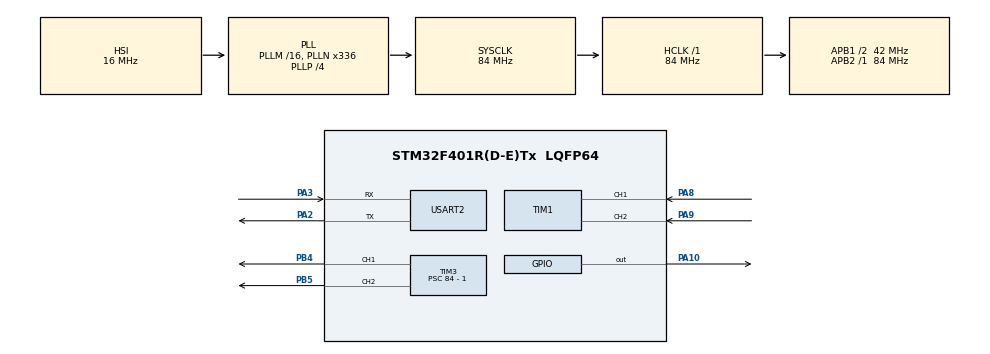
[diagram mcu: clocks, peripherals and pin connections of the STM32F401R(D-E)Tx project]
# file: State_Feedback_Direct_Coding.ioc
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Mcu.Family=STM32F4
Mcu.Name=STM32F401R(D-E)Tx
Mcu.Package=LQFP64
NVIC.PriorityGroup=NVIC_PRIORITYGROUP_4
NVIC.TIM4_IRQn=true\:0\:0\:false\:false\:true\:true\:true\:true
PA10.Signal=GPIO_Output
PA2.Mode=Asynchronous
PA2.Signal=USART2_TX
PA3.Mode=Asynchronous
PA3.Signal=USART2_RX
PA8.Signal=S_TIM1_CH1
PA9.Signal=S_TIM1_CH2
PB4.Signal=S_TIM3_CH1
PB5.Signal=S_TIM3_CH2
ProjectManager.HeapSize=0x200
ProjectManager.StackSize=0x400
ProjectManager.TargetToolchain=STM32CubeIDE
RCC.48MHZClocksFreq_Value=84000000
RCC.AHBFreq_Value=84000000
RCC.APB1CLKDivider=RCC_HCLK_DIV2
RCC.APB1Freq_Value=42000000
RCC.APB1TimFreq_Value=84000000
RCC.APB2Freq_Value=84000000
RCC.APB2TimFreq_Value=84000000
RCC.CortexFreq_Value=84000000
RCC.HCLKFreq_Value=84000000
RCC.HSE_VALUE=25000000
RCC.HSI_VALUE=16000000
RCC.LSE_VALUE=32768
RCC.PLLN=336
RCC.PLLP=RCC_PLLP_DIV4
RCC.SYSCLKFreq_VALUE=84000000
RCC.SYSCLKSource=RCC_SYSCLKSOURCE_PLLCLK
RCC.VCOOutputFreq_Value=336000000
SH.S_TIM1_CH1.0=TIM1_CH1,Encoder_Interface
SH.S_TIM1_CH2.0=TIM1_CH2,Encoder_Interface
SH.S_TIM3_CH1.0=TIM3_CH1,PWM Generation1 CH1
SH.S_TIM3_CH2.0=TIM3_CH2,PWM Generation2 CH2
TIM1.EncoderMode=TIM_ENCODERMODE_TI12
TIM3.AutoReloadPreload=TIM_AUTORELOAD_PRELOAD_ENABLE
TIM3.Channel-PWM\ Generation1\ CH1=TIM_CHANNEL_1
TIM3.Channel-PWM\ Generation2\ CH2=TIM_CHANNEL_2
TIM3.Period=500 - 1
TIM3.Prescaler=84 - 1
TIM4.Period=5000 - 1
TIM4.Prescaler=84 - 1
USART2.VirtualMode=VM_ASYNC
VP_TIM3_VS_ClockSourceINT.Mode=Internal
VP_TIM4_VS_ClockSourceINT.Mode=Internal
board=custom

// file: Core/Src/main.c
/* USER CODE BEGIN Header */
/**
 ******************************************************************************
 * @file           : main.c
 * @brief          : Main program body
 ******************************************************************************
 * @attention
 *
 * <h2><center>&copy; Copyright (c) 2021 STMicroelectronics.
 * All rights reserved.</center></h2>
 *
 * This software component is licensed by ST under BSD 3-Clause license,
 * the "License"; You may not use this file except in compliance with the
 * License. You may obtain a copy of the License at:
 *                        opensource.org/licenses/BSD-3-Clause
 *
 ******************************************************************************
 */
/* USER CODE END Header */
#include "main.h"

/* USER CODE BEGIN Includes */
#include "stdio.h"
#include "stdlib.h"
#include "stdbool.h"
#include "math.h"
#include "string.h"
#include  <errno.h>
#include  <sys/unistd.h> // STDOUT_FILENO, STDERR_FILENO
/* USER CODE END Includes */

/* USER CODE BEGIN PD */
#define WAITING 2 // the number of seconds to wait from one reference change to the next. It also coincides with the number of seconds between one USART send and the next
#define REF_DIM 8
/* USER CODE END PD */

TIM_HandleTypeDef htim1;
TIM_HandleTypeDef htim3;
TIM_HandleTypeDef htim4;

UART_HandleTypeDef huart2;

void SystemClock_Config(void);
static void MX_GPIO_Init(void);
static void MX_USART2_UART_Init(void);
static void MX_TIM3_Init(void);
static void MX_TIM1_Init(void);
static void MX_TIM4_Init(void);

/* USER CODE BEGIN 0 */
/* BEGIN CIRCULAR DATA BUFFER */
typedef struct circular_buffer {
	void *buffer;     // data buffer
	void *buffer_end; // end of data buffer
	size_t capacity;  // maximum number of items in the buffer
	size_t count;     // number of items in the buffer
	size_t sz;        // size of each item in the buffer
	void *head;       // pointer to head
	void *tail;       // pointer to tail
	bool writing;  // signals if the buffer is being written
} circular_buffer;

void circularBufferInit(circular_buffer *cb, size_t capacity, size_t sz) {
	cb->buffer = calloc(capacity, sz);
	if (cb->buffer == NULL)
		printf("ALLOCATED NULL\n\r");
	// handle error
	cb->buffer_end = (char*) cb->buffer + capacity * sz;
	cb->capacity = capacity;
	cb->count = 0;
	cb->sz = sz;
	cb->head = cb->buffer;
	cb->tail = cb->buffer;
	cb->writing = false;

}

void circularBufferFree(circular_buffer *cb) {
	free(cb->buffer);
	// clear out other fields too, just to be safe
}

void circularBufferPushBack(circular_buffer *cb, const void *item) {
	if (cb->count == cb->capacity) {
		printf("ERROR PUSH BACK \n\r");
		// handle error
	}
	cb->writing = true;
	memmove(cb->head, item, cb->sz);
	cb->head = (char*) cb->head + cb->sz;
	if (cb->head == cb->buffer_end)
		cb->head = cb->buffer;
	cb->count++;
	cb->writing = false;
}

void circularBufferPopFront(circular_buffer *cb, void *item) {
	if (cb->count == 0) {
		printf("ERROR PUSH BACK \n\r");
		// handle error
	}
	memmove(item, cb->tail, cb->sz);
	cb->tail = (char*) cb->tail + cb->sz;
	if (cb->tail == cb->buffer_end)
		cb->tail = cb->buffer;
	while ((cb->writing))
		;
	cb->count--;
}

circular_buffer buffer;

/* BEGIN RECORD TYPEDEF*/
typedef struct record {
	double current_u; // value of the current controller output
	double current_y; // value of the current motor output (speed)
	double current_r;
	uint32_t cycle_core_duration; // time needed to read, compute and actuate
	uint32_t cycle_begin_delay; // difference between the actual and the expected absolute start time of the cycle
	uint32_t current_timestamp; // current timestamp in millis
} record;

/* BEGIN USART WRITE FUNCTION (used by printf)*/
int _write(int file, char *data, int len) {
	if ((file != STDOUT_FILENO) && (file != STDERR_FILENO)) {
		errno = EBADF;
		return -1;
	}

	// arbitrary timeout 1000
	HAL_StatusTypeDef status = HAL_UART_Transmit(&huart2, (uint8_t*) data, len, 1000);

	// return # of bytes written - as best we can tell
	return (status == HAL_OK ? len : 0);
}

void setPulseFromDutyValue(double dutyVal) {
	HAL_GPIO_WritePin(GPIOA, GPIO_PIN_10, GPIO_PIN_SET); // enable the motor driver

	uint16_t channelToModulate;
	uint16_t channelToStop;

	if (dutyVal > 0) {
		channelToModulate = TIM_CHANNEL_1;
		channelToStop = TIM_CHANNEL_2;
	} else {
		channelToModulate = TIM_CHANNEL_2;
		channelToStop = TIM_CHANNEL_1;
	}

	__HAL_TIM_SET_COMPARE(&htim3, channelToStop, 0);
	__HAL_TIM_SET_COMPARE(&htim3, channelToModulate,
			(abs(dutyVal) * ((double )htim3.Init.Period)) / 100); //cast integer value to double to correctly perform division between decimal numbers
}

double getSpeedByDelta(double ticksDelta, double Ts) {
	return ticksDelta * 60 / (3591.84 * Ts);
}

double getTicksDelta(double current_ticks, double last_ticks, double Ts) {
	double delta;

	if (abs(current_ticks - last_ticks) <= ceil(8400 * Ts))
		delta = current_ticks - last_ticks;
	else {
		if (last_ticks > current_ticks)
			delta = current_ticks + pow(2, 16) - 1 - last_ticks;
		else
			delta = current_ticks - pow(2, 16) + 1 - last_ticks;
	}
	return delta;
}

double last_ticks = 0;
double current_ticks = 0;
uint32_t tic_control_step;
uint32_t toc_control_step;
uint32_t control_computation_duration;

uint32_t controller_k = -1;
int sampling_prescaler = 2;
int sampling_prescaler_counter = 0;

double Ts = 0.005;

double reference_array[REF_DIM] = { 60.0, 80.0, 100.0, 150.0, -60.0, -80.0, -100.0, 0};
double reference;

double u = 0;

double **Ad;
double **Bd;
double **Cd;
double **state_kp1;
double **state_k;
double **y_k_expected;
double **L;
double **u_matrix;
double **sum_center;
double **sub_y;
double **sum_top;
double **sum_bottom;

int Ad_rows = 2;
int Ad_columns = 2;
int Bd_rows = 2;
int Bd_columns = 1;
int Cd_rows = 1;
int Cd_columns = 2;
int L_rows = 2;
int L_columns = 1;
int state_rows = 2;
int state_columns = 1;
int y_k_expected_rows = 1;
int y_k_expected_columns = 1;
int u_rows = 1;
int u_columns = 1;

double kp_1 = 0.0770;
double kp_2 = -0.0645;
double ki = 0.0042;
double z = 0;
double z_last = 0;
double error_last = 0;

double** createMatrix(int n, int m) {
	double *values = (double*) calloc(m * n, sizeof(double));
	double **rows = (double**) malloc(n * sizeof(double*));
	for (int i = 0; i < n; ++i) {
		rows[i] = values + i * m;
	}
	return rows;
}

void initMatricies() {

	Ad = createMatrix(Ad_rows, Ad_columns);
	Ad[0][0] = 0.8645;
	Ad[0][1] = -0.0565;
	Ad[1][0] = 1.0;
	Ad[1][1] = 0.0;

	Bd = createMatrix(Bd_rows, Bd_columns);
	Bd[0][0] = 1.0;
	Bd[1][0] = 0.0;

	Cd = createMatrix(Cd_rows, Cd_columns);
	Cd[0][0] = 1.4424;
	Cd[0][1] = 0.4751;

	L = createMatrix(L_rows, L_columns);
	L[0][0] = 0.3789;
	L[1][0] = 0.4549;

	state_kp1 = createMatrix(state_rows, state_columns);
	state_k = createMatrix(state_rows, state_columns);
	y_k_expected = createMatrix(y_k_expected_rows, y_k_expected_columns);

	u_matrix = createMatrix(u_rows, u_columns);
	sum_center = createMatrix(Bd_rows, u_columns);
	sub_y = createMatrix(y_k_expected_rows, y_k_expected_columns);
	sum_top = createMatrix(L_rows, y_k_expected_columns);
	sum_bottom = createMatrix(Ad_rows, state_columns);
}

void multiplyMatricies(double **m1, double **m2, int m1_rows, int m1_columns,
		int m2_rows, int m2_columns, double **m3) {

	for (int i = 0; i < m1_rows; i++) {
		for (int j = 0; j < m2_columns; j++) {
			m3[i][j] = 0;
			for (int k = 0; k < m2_rows; k++) {
				m3[i][j] += m1[i][k] * m2[k][j];
			}
		}
	}
}

void resetArray(double **arr, int n, int m) {

	for (int i = 0; i < n; i++) {
	  for( int j = 0; j < m; j++){
		  arr[i][j] = 0;
	  }
	}
}

/**
 * Return the result in the matrix m1
 */
void sumMatricies(double **m1, double **m2, double rows, double columns) {

	for (int i = 0; i < rows; i++) {
		for (int j = 0; j < columns; j++) {
			m1[i][j] = m1[i][j] + m2[i][j];
		}
	}
}

/* USER CODE END 0 */

int main(void) {
	/* MCU Configuration--------------------------------------------------------*/

	initMatricies();
	/* Reset of all peripherals, Initializes the Flash interface and the Systick. */
	HAL_Init();

	/* USER CODE BEGIN Init */
	size_t buffer_size = (size_t) ceil(2 * WAITING / (Ts * sampling_prescaler));
	circularBufferInit(&buffer, buffer_size, sizeof(record));

	/* USER CODE END Init */

	/* Configure the system clock */
	SystemClock_Config();

	/* Initialize all configured peripherals */
	MX_GPIO_Init();
	MX_USART2_UART_Init();
	MX_TIM3_Init();
	MX_TIM1_Init();
	MX_TIM4_Init();
	/* USER CODE BEGIN 2 */
	HAL_TIM_PWM_Start(&htim3, TIM_CHANNEL_1);
	HAL_TIM_PWM_Start(&htim3, TIM_CHANNEL_2);
	HAL_TIM_Base_Start(&htim1);
	HAL_TIM_Base_Start_IT(&htim4);
	/* USER CODE END 2 */

	/* Infinite loop */
	/* USER CODE BEGIN WHILE */

	int reference_index = 0;
	reference = reference_array[reference_index];

	printf("INIT\n\r"); // initialize the Matlab tool for COM data acquiring

	while (1) {
		size_t n_entries_to_send = buffer.count; //number of samples not read yet
		record retrieved; //buffer entry

		for (size_t count = 0; count < n_entries_to_send; count++) {
			circularBufferPopFront(&buffer, &retrieved); //take entry from the buffer
			printf("%lu, %f, %f, %f, %lu\n\r", retrieved.current_timestamp,
					retrieved.current_u, retrieved.current_y, retrieved.current_r,
					retrieved.cycle_core_duration); // send values via USART using format: value1, value2, value3, ... valuen \n \r
		}

		reference = reference_array[reference_index];
		reference_index = (reference_index + 1)%REF_DIM;
		HAL_Delay(WAITING * 1000); // takes a time value in ms

		/* USER CODE END WHILE */

	}
}

void SystemClock_Config(void) {
	RCC_OscInitTypeDef RCC_OscInitStruct = { 0 };
	RCC_ClkInitTypeDef RCC_ClkInitStruct = { 0 };

	/** Configure the main internal regulator output voltage
	 */
	__HAL_RCC_PWR_CLK_ENABLE();
	__HAL_PWR_VOLTAGESCALING_CONFIG(PWR_REGULATOR_VOLTAGE_SCALE2);
	/** Initializes the RCC Oscillators according to the specified parameters
	 * in the RCC_OscInitTypeDef structure.
	 */
	RCC_OscInitStruct.OscillatorType = RCC_OSCILLATORTYPE_HSI;
	RCC_OscInitStruct.HSIState = RCC_HSI_ON;
	RCC_OscInitStruct.HSICalibrationValue = RCC_HSICALIBRATION_DEFAULT;
	RCC_OscInitStruct.PLL.PLLState = RCC_PLL_ON;
	RCC_OscInitStruct.PLL.PLLSource = RCC_PLLSOURCE_HSI;
	RCC_OscInitStruct.PLL.PLLM = 16;
	RCC_OscInitStruct.PLL.PLLN = 336;
	RCC_OscInitStruct.PLL.PLLP = RCC_PLLP_DIV4;
	RCC_OscInitStruct.PLL.PLLQ = 4;
	if (HAL_RCC_OscConfig(&RCC_OscInitStruct) != HAL_OK) {
		Error_Handler();
	}
	/** Initializes the CPU, AHB and APB buses clocks
	 */
	RCC_ClkInitStruct.ClockType = RCC_CLOCKTYPE_HCLK | RCC_CLOCKTYPE_SYSCLK
			| RCC_CLOCKTYPE_PCLK1 | RCC_CLOCKTYPE_PCLK2;
	RCC_ClkInitStruct.SYSCLKSource = RCC_SYSCLKSOURCE_PLLCLK;
	RCC_ClkInitStruct.AHBCLKDivider = RCC_SYSCLK_DIV1;
	RCC_ClkInitStruct.APB1CLKDivider = RCC_HCLK_DIV2;
	RCC_ClkInitStruct.APB2CLKDivider = RCC_HCLK_DIV1;

	if (HAL_RCC_ClockConfig(&RCC_ClkInitStruct, FLASH_LATENCY_2) != HAL_OK) {
		Error_Handler();
	}
}

static void MX_TIM1_Init(void) {

	TIM_Encoder_InitTypeDef sConfig = { 0 };
	TIM_MasterConfigTypeDef sMasterConfig = { 0 };

	htim1.Instance = TIM1;
	htim1.Init.Prescaler = 0;
	htim1.Init.CounterMode = TIM_COUNTERMODE_UP;
	htim1.Init.Period = 65535;
	htim1.Init.ClockDivision = TIM_CLOCKDIVISION_DIV1;
	htim1.Init.RepetitionCounter = 0;
	htim1.Init.AutoReloadPreload = TIM_AUTORELOAD_PRELOAD_DISABLE;
	sConfig.EncoderMode = TIM_ENCODERMODE_TI12;
	sConfig.IC1Polarity = TIM_ICPOLARITY_RISING;
	sConfig.IC1Selection = TIM_ICSELECTION_DIRECTTI;
	sConfig.IC1Prescaler = TIM_ICPSC_DIV1;
	sConfig.IC1Filter = 0;
	sConfig.IC2Polarity = TIM_ICPOLARITY_RISING;
	sConfig.IC2Selection = TIM_ICSELECTION_DIRECTTI;
	sConfig.IC2Prescaler = TIM_ICPSC_DIV1;
	sConfig.IC2Filter = 0;
	if (HAL_TIM_Encoder_Init(&htim1, &sConfig) != HAL_OK) {
		Error_Handler();
	}
	sMasterConfig.MasterOutputTrigger = TIM_TRGO_RESET;
	sMasterConfig.MasterSlaveMode = TIM_MASTERSLAVEMODE_DISABLE;
	if (HAL_TIMEx_MasterConfigSynchronization(&htim1, &sMasterConfig)
			!= HAL_OK) {
		Error_Handler();
	}

}

static void MX_TIM3_Init(void) {

	TIM_ClockConfigTypeDef sClockSourceConfig = { 0 };
	TIM_MasterConfigTypeDef sMasterConfig = { 0 };
	TIM_OC_InitTypeDef sConfigOC = { 0 };

	htim3.Instance = TIM3;
	htim3.Init.Prescaler = 84 - 1;
	htim3.Init.CounterMode = TIM_COUNTERMODE_UP;
	htim3.Init.Period = 500 - 1;
	htim3.Init.ClockDivision = TIM_CLOCKDIVISION_DIV1;
	htim3.Init.AutoReloadPreload = TIM_AUTORELOAD_PRELOAD_ENABLE;
	if (HAL_TIM_Base_Init(&htim3) != HAL_OK) {
		Error_Handler();
	}
	sClockSourceConfig.ClockSource = TIM_CLOCKSOURCE_INTERNAL;
	if (HAL_TIM_ConfigClockSource(&htim3, &sClockSourceConfig) != HAL_OK) {
		Error_Handler();
	}
	if (HAL_TIM_PWM_Init(&htim3) != HAL_OK) {
		Error_Handler();
	}
	sMasterConfig.MasterOutputTrigger = TIM_TRGO_RESET;
	sMasterConfig.MasterSlaveMode = TIM_MASTERSLAVEMODE_DISABLE;
	if (HAL_TIMEx_MasterConfigSynchronization(&htim3, &sMasterConfig)
			!= HAL_OK) {
		Error_Handler();
	}
	sConfigOC.OCMode = TIM_OCMODE_PWM1;
	sConfigOC.Pulse = 0;
	sConfigOC.OCPolarity = TIM_OCPOLARITY_HIGH;
	sConfigOC.OCFastMode = TIM_OCFAST_DISABLE;
	if (HAL_TIM_PWM_ConfigChannel(&htim3, &sConfigOC, TIM_CHANNEL_1)
			!= HAL_OK) {
		Error_Handler();
	}
	if (HAL_TIM_PWM_ConfigChannel(&htim3, &sConfigOC, TIM_CHANNEL_2)
			!= HAL_OK) {
		Error_Handler();
	}
	HAL_TIM_MspPostInit(&htim3);

}

static void MX_TIM4_Init(void) {

	TIM_ClockConfigTypeDef sClockSourceConfig = { 0 };
	TIM_MasterConfigTypeDef sMasterConfig = { 0 };

	htim4.Instance = TIM4;
	htim4.Init.Prescaler = 84 - 1;
	htim4.Init.CounterMode = TIM_COUNTERMODE_UP;
	htim4.Init.Period = 5000 - 1;
	htim4.Init.ClockDivision = TIM_CLOCKDIVISION_DIV1;
	htim4.Init.AutoReloadPreload = TIM_AUTORELOAD_PRELOAD_DISABLE;
	if (HAL_TIM_Base_Init(&htim4) != HAL_OK) {
		Error_Handler();
	}
	sClockSourceConfig.ClockSource = TIM_CLOCKSOURCE_INTERNAL;
	if (HAL_TIM_ConfigClockSource(&htim4, &sClockSourceConfig) != HAL_OK) {
		Error_Handler();
	}
	sMasterConfig.MasterOutputTrigger = TIM_TRGO_RESET;
	sMasterConfig.MasterSlaveMode = TIM_MASTERSLAVEMODE_DISABLE;
	if (HAL_TIMEx_MasterConfigSynchronization(&htim4, &sMasterConfig)
			!= HAL_OK) {
		Error_Handler();
	}

}

static void MX_USART2_UART_Init(void) {

	huart2.Instance = USART2;
	huart2.Init.BaudRate = 115200;
	huart2.Init.WordLength = UART_WORDLENGTH_8B;
	huart2.Init.StopBits = UART_STOPBITS_1;
	huart2.Init.Parity = UART_PARITY_NONE;
	huart2.Init.Mode = UART_MODE_TX_RX;
	huart2.Init.HwFlowCtl = UART_HWCONTROL_NONE;
	huart2.Init.OverSampling = UART_OVERSAMPLING_16;
	if (HAL_UART_Init(&huart2) != HAL_OK) {
		Error_Handler();
	}

}

static void MX_GPIO_Init(void) {
	GPIO_InitTypeDef GPIO_InitStruct = { 0 };

	/* GPIO Ports Clock Enable */
	__HAL_RCC_GPIOA_CLK_ENABLE();
	__HAL_RCC_GPIOB_CLK_ENABLE();

	/*Configure GPIO pin Output Level */
	HAL_GPIO_WritePin(GPIOA, GPIO_PIN_10, GPIO_PIN_RESET);

	/*Configure GPIO pin : PA10 */
	GPIO_InitStruct.Pin = GPIO_PIN_10;
	GPIO_InitStruct.Mode = GPIO_MODE_OUTPUT_PP;
	GPIO_InitStruct.Pull = GPIO_NOPULL;
	GPIO_InitStruct.Speed = GPIO_SPEED_FREQ_LOW;
	HAL_GPIO_Init(GPIOA, &GPIO_InitStruct);

}

void luenbergerObserver(double u_last, double y) {

	for(int i=0; i < state_rows; i++){
		for(int j =0; j < state_columns; j++){
			state_k[i][j] = state_kp1[i][j];
			state_kp1[i][j] = 0;
		}
	}

	u_matrix[0][0] = u_last;

	multiplyMatricies(Bd, u_matrix, Bd_rows, Bd_columns, 1, 1, sum_center);

	multiplyMatricies(Cd, state_k, Cd_rows, Cd_columns, state_rows, state_columns, y_k_expected);
	sub_y[0][0] = y - y_k_expected[0][0];

	multiplyMatricies(L, sub_y, L_rows, L_columns, y_k_expected_rows, y_k_expected_columns, sum_top);
	multiplyMatricies(Ad, state_k, Ad_rows, Ad_columns, state_rows, state_columns, sum_bottom);

	sumMatricies(state_kp1, sum_top, L_rows, y_k_expected_columns);
	sumMatricies(state_kp1, sum_center, L_rows, y_k_expected_columns);
	sumMatricies(state_kp1, sum_bottom, L_rows, y_k_expected_columns);

	resetArray(sub_y, y_k_expected_rows, y_k_expected_columns);
	resetArray(sum_top, L_rows, y_k_expected_columns);
	resetArray(sum_center, L_rows, y_k_expected_columns);
	resetArray(sum_bottom, L_rows, y_k_expected_columns);
}

/* USER CODE BEGIN 4 */
void HAL_TIM_PeriodElapsedCallback(TIM_HandleTypeDef *htim) {

	if (htim == &htim4) {
		controller_k = controller_k + 1;

		if (controller_k == 0) {
			tic_control_step = HAL_GetTick();
		}

		toc_control_step = HAL_GetTick();

		current_ticks = (double) __HAL_TIM_GET_COUNTER(&htim1); //take current value of ticks counting the encoder edges

		//take the current motor speed
		double speed = getSpeedByDelta(getTicksDelta(current_ticks, last_ticks, Ts), Ts);

		// state estimation with Luenberger observer, after this function the state_k is updated
		luenbergerObserver(u, speed);

		// State Feedback --------------------------------------------
		double error = speed - reference;
		z = z_last - ki*error_last;

		double kx = kp_1*state_k[0][0] + kp_2*state_k[1][0];

		double u = z - kx;

		setPulseFromDutyValue(u * 100 / 12);

		//------------------------------------------------------------

		error_last = error;
		z_last = z;

		control_computation_duration = HAL_GetTick() - toc_control_step;
		last_ticks = current_ticks;

		record r;
		r.current_u = u;
		r.current_y = speed;
		r.current_r = reference;
		r.cycle_core_duration = control_computation_duration;
		r.cycle_begin_delay = toc_control_step - tic_control_step - (controller_k * Ts * 1000);
		r.current_timestamp = HAL_GetTick();

		if (sampling_prescaler_counter == (sampling_prescaler - 1)) {
			circularBufferPushBack(&buffer, &r);
			sampling_prescaler_counter = -1;
		}
		sampling_prescaler_counter++;
	}
}
/* USER CODE END 4 */

void Error_Handler(void) {
	__disable_irq();
	while (1) {
	}
}

/************************ (C) COPYRIGHT STMicroelectronics *****END OF FILE****/
